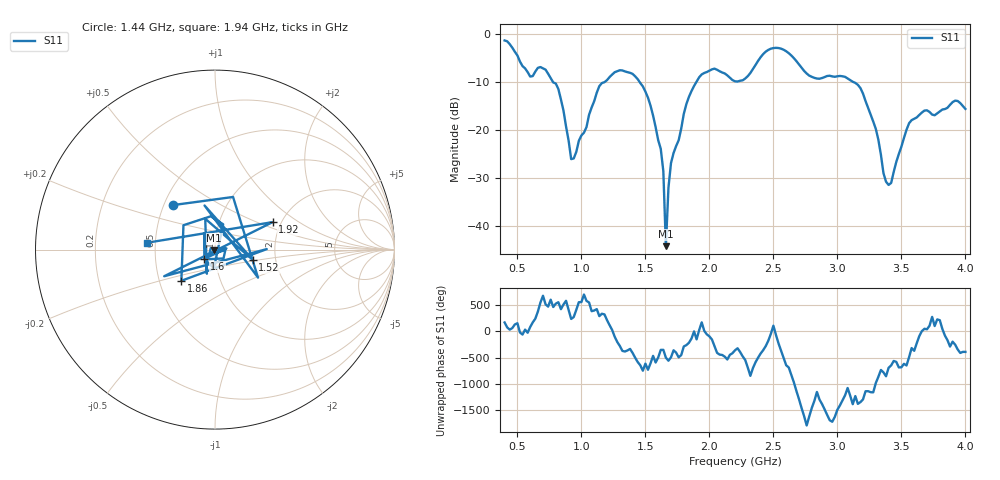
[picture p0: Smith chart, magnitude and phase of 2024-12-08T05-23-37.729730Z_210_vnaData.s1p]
!Created with skrf (http://scikit-rf.org).
# Hz S RI R 50.0
!freq ReS11 ImS11
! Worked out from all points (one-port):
!   181 points, 400 MHz to 4 GHz, reference 50 ohm
!   lowest |S11| = -44.1 dB at 1.66 GHz (marker M1), VSWR 1.01, Z = 49.5 - j0.371 ohm
!   |S11| at or under -10 dB: 778.7 MHz to 1.18 GHz (401.5 MHz wide, 41 % of centre); 1.456 GHz to 1.898 GHz (442.3 MHz wide, 26.4 % of centre); 3.127 GHz to end of sweep
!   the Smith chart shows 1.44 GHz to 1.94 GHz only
!   S11 on the Smith chart (normalised r, x): 1.44 GHz: 0.56, +0.31; 1.52 GHz: 1.52, -0.18; 1.6 GHz: 0.88, -0.09; 1.86 GHz: 0.65, -0.24; 1.92 GHz: 1.80, +0.63; 1.94 GHz: 0.45, +0.04
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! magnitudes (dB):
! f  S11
! 400 MHz  -1.3
! 600 MHz  -8.8
! 720 MHz  -7.4
! 860 MHz  -15.9
! 920 MHz  -26.0
! 940 MHz  -25.9
! 1.14 GHz  -10.8
! 1.3 GHz  -7.5
! 1.44 GHz  -9.4
! 1.52 GHz  -13.2
! 1.6 GHz  -22.1
! 1.64 GHz  -28.5
! 1.66 GHz  -44.1
! 1.68 GHz  -32.0
! 1.7 GHz  -26.8
! 1.76 GHz  -22.1
! 1.86 GHz  -11.8
! 1.92 GHz  -9.0
! 1.94 GHz  -8.4
! 2.2 GHz  -9.8
! 2.48 GHz  -3.0
! 2.66 GHz  -5.0
! 2.82 GHz  -9.1
! 3.1 GHz  -9.6
! 3.2 GHz  -12.4
! 3.4 GHz  -31.4
! 3.56 GHz  -18.6
! 4 GHz  -15.6
